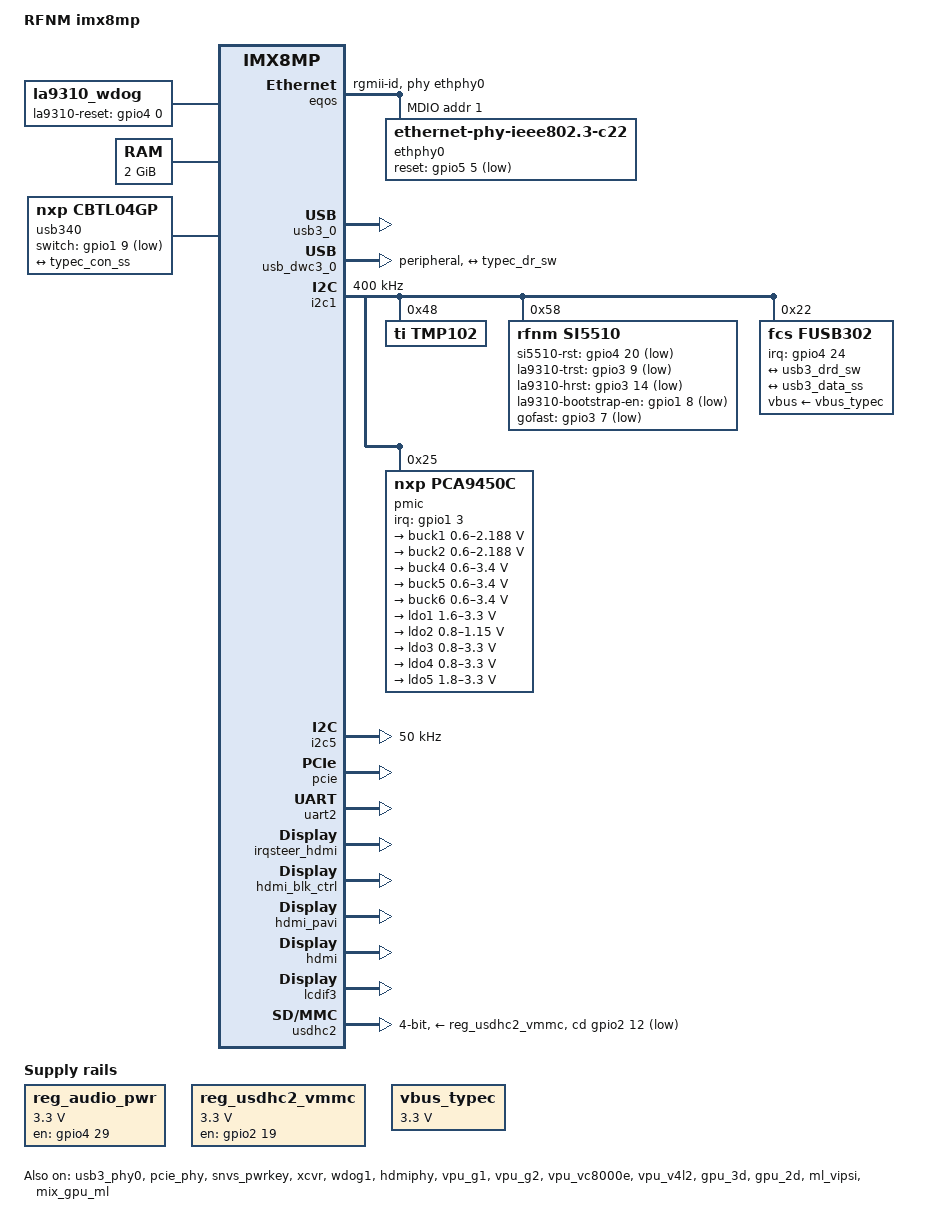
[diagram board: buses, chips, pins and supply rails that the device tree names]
// SPDX-License-Identifier: (GPL-2.0+ OR MIT)
/*
 * Copyright 2019 NXP
 */

/dts-v1/;

#include <dt-bindings/usb/pd.h>
#include "imx8mp.dtsi"

/ {
	model = "RFNM imx8mp";
	compatible = "fsl,imx8mp-evk", "fsl,imx8mp";

	chosen {
		stdout-path = &uart2;
	};

        /* TODO: NLM WDOG Node workaround */
        la9310_wdog: la9310_wdog@0 {
                compatible = "la9310_wdog";
                la9310-reset-gpio = <&gpio4 0 GPIO_ACTIVE_HIGH>;
        };


	memory@40000000 {
		device_type = "memory";
		reg = <0x0 0x40000000 0 0x80000000>;
	};

	reg_audio_pwr: regulator-audio-pwr {
		compatible = "regulator-fixed";
		regulator-name = "audio-pwr";
		regulator-min-microvolt = <3300000>;
		regulator-max-microvolt = <3300000>;
		gpio = <&gpio4 29 GPIO_ACTIVE_HIGH>;
		enable-active-high;
		regulator-always-on;
	};
	
	reg_usdhc2_vmmc: regulator-usdhc2 {
		compatible = "regulator-fixed";
		pinctrl-names = "default";
		pinctrl-0 = <&pinctrl_reg_usdhc2_vmmc>;
		regulator-name = "VSD_3V3";
		regulator-min-microvolt = <3300000>;
		regulator-max-microvolt = <3300000>;
		gpio = <&gpio2 19 GPIO_ACTIVE_HIGH>;
		enable-active-high;
	};


	sound-hdmi {
		compatible = "fsl,imx-audio-hdmi";
		model = "audio-hdmi";
		audio-cpu = <&aud2htx>;
		hdmi-out;
		constraint-rate = <44100>,
				<88200>,
				<176400>,
				<32000>,
				<48000>,
				<96000>,
				<192000>;
		status = "okay";
	};
	
	/*
	rfnm_gpios {
		compatible = "rfnm,gpio";
		pinctrl-names = "default";
		pinctrl-0 = <&pinctrl_rfnm_gpios>;

		Si5510_PWR_EN {
			label = "Si5510_PWR_EN";
			gpios = <&gpio3 16 GPIO_ACTIVE_HIGH>;
		};
	};
	*/
	
	
	usb340: fusb340-sw {
		// cannot remove compatibile from here, this only works thanks to NXP patches
		compatible = "nxp,cbtl04gp";
		pinctrl-names = "default";
		pinctrl-0 = <&pinctrl_typec_mux>;
		switch-gpios = <&gpio1 9 GPIO_ACTIVE_LOW>;
		orientation-switch;

		port {
			usb3_data_ss: endpoint {
				remote-endpoint = <&typec_con_ss>;
			};
		};
	};
	
	
	
	
	vbus_typec: vbus-typec-regulator {
		compatible = "regulator-fixed";
		regulator-name = "vbus_typec";
		regulator-min-microvolt = <3300000>;
		regulator-max-microvolt = <3300000>;
		regulator-always-on;
		status = "okay";
	};
	
	rfnm_wsled {
		compatible = "rfnm,wsled";
		status = "okay";
	};
};

&gpio2 {
	gpio-line-names = 
		"gpio2_0",
		"etc";
};



&A53_0 {
	cpu-supply = <&buck2>;
};

&A53_1 {
	cpu-supply = <&buck2>;
};

&A53_2 {
	cpu-supply = <&buck2>;
};

&A53_3 {
	cpu-supply = <&buck2>;
};


&eqos {
	pinctrl-names = "default";
	pinctrl-0 = <&pinctrl_eqos>;
	phy-mode = "rgmii-id";
	phy-handle = <&ethphy0>;
	snps,force_thresh_dma_mode;
	//snps,mtl-tx-config = <&mtl_tx_setup>;
	//snps,mtl-rx-config = <&mtl_rx_setup>;
	fsl,magic-packet;
	status = "okay";

	mdio {
		compatible = "snps,dwmac-mdio";
		#address-cells = <1>;
		#size-cells = <0>;

		ethphy0: ethernet-phy@1 {
			compatible = "ethernet-phy-ieee802.3-c22";
			reg = <1>;
			eee-broken-1000t;
			realtek,clkout-disable;
			reset-gpios = <&gpio5 5 GPIO_ACTIVE_LOW>;
			reset-assert-us = <15000>;
			reset-deassert-us = <100000>;
		};
	};

	/*mtl_tx_setup: tx-queues-config {
		snps,tx-queues-to-use = <5>;
		snps,tx-sched-sp;
		queue0 {
			snps,dcb-algorithm;
			snps,priority = <0x1>;
		};
		queue1 {
			snps,dcb-algorithm;
			snps,priority = <0x2>;
		};
		queue2 {
			snps,dcb-algorithm;
			snps,priority = <0x4>;
		};
		queue3 {
			snps,dcb-algorithm;
			snps,priority = <0x8>;
		};
		queue4 {
			snps,dcb-algorithm;
			snps,priority = <0xf0>;
		};
	};
	mtl_rx_setup: rx-queues-config {
		snps,rx-queues-to-use = <5>;
		snps,rx-sched-sp;
		queue0 {
			snps,dcb-algorithm;
			snps,priority = <0x1>;
			snps,map-to-dma-channel = <0>;
		};
		queue1 {
			snps,dcb-algorithm;
			snps,priority = <0x2>;
			snps,map-to-dma-channel = <1>;
		};
		queue2 {
			snps,dcb-algorithm;
			snps,priority = <0x4>;
			snps,map-to-dma-channel = <2>;
		};
		queue3 {
			snps,dcb-algorithm;
			snps,priority = <0x8>;
			snps,map-to-dma-channel = <3>;
		};
		queue4 {
			snps,dcb-algorithm;
			snps,priority = <0xf0>;
			snps,map-to-dma-channel = <4>;
		};
	};*/
};

&usb3_phy0 {
	vbus-power-supply = <&fusb302>;
	fsl,phy-tx-vref-tune = <0xe>;
	fsl,phy-tx-preemp-amp-tune = <3>;
	fsl,phy-tx-vboost-level = <5>;
	fsl,phy-comp-dis-tune = <7>;
	fsl,pcs-tx-deemph-3p5db = <0x21>;
	fsl,phy-pcs-tx-swing-full = <0x7f>;
	status = "okay";
};

&usb3_0 {
	status = "okay";
};

&usb_dwc3_0 {
	dr_mode = "peripheral";
	hnp-disable;
	srp-disable;
	adp-disable;
	snps,dis-u1-entry-quirk;
	snps,dis-u2-entry-quirk;
	status = "okay";

	port {
		usb3_drd_sw: endpoint {
			remote-endpoint = <&typec_dr_sw>;
		};
	};
};


&i2c1 {
	clock-frequency = <400000>;
	pinctrl-names = "default";
	pinctrl-0 = <&pinctrl_i2c1>;
	status = "okay";
	
	tmp102@48{
		compatible = "ti,tmp102";
		reg = <0x48>;
	};      
	
	si5510@58{
		compatible = "rfnm,si5510";
		reg = <0x58>;
		status = "okay";
		pinctrl-names = "default";
		pinctrl-0 = <&pinctrl_si5510>;
		si5510-rst-gpios = <&gpio4 20 GPIO_ACTIVE_LOW>;
		la9310-trst-gpios = <&gpio3 9 GPIO_ACTIVE_LOW>;
		la9310-hrst-gpios = <&gpio3 14 GPIO_ACTIVE_LOW>;
		la9310-bootstrap-en-gpios = <&gpio1 8 GPIO_ACTIVE_LOW>;
		
		gofast-gpios = <&gpio3 7 GPIO_ACTIVE_LOW>;
	};
      
      
      fusb302: tcpc@22 {
		compatible = "fcs,fusb302";
		pinctrl-names = "default";
		pinctrl-0 = <&pinctrl_typec>;
		reg = <0x22>;
		interrupt-parent = <&gpio4>;
        interrupts = <24 IRQ_TYPE_LEVEL_LOW>;
        vbus-supply = <&vbus_typec>;

		port {
			typec_dr_sw: endpoint {
				remote-endpoint = <&usb3_drd_sw>;
			};
		};

		usb_con: connector {
			compatible = "usb-c-connector";
			label = "USB-C";
			power-role = "sink";
			data-role = "device";
			source-pdos = <PDO_FIXED(5000, 3000, PDO_FIXED_USB_COMM)>;
			sink-pdos = <PDO_FIXED(5000, 3000, PDO_FIXED_USB_COMM)
				     PDO_VAR(5000, 20000, 3000)>;
			op-sink-microwatt = <15000000>;
			self-powered;

			ports {
				#address-cells = <1>;
				#size-cells = <0>;

				port@1 {
					reg = <1>;
					typec_con_ss: endpoint {
						remote-endpoint = <&usb3_data_ss>;
					};
				};
			};
		};
	};
	
	
	
      
      

	pmic@25 {
		compatible = "nxp,pca9450c";
		reg = <0x25>;
		pinctrl-names = "default";
		pinctrl-0 = <&pinctrl_pmic>;
		interrupt-parent = <&gpio1>;
		interrupts = <3 IRQ_TYPE_LEVEL_LOW>;

		regulators {
			buck1: BUCK1 {
				regulator-name = "BUCK1";
				regulator-min-microvolt = <600000>;
				regulator-max-microvolt = <2187500>;
				regulator-boot-on;
				regulator-always-on;
				regulator-ramp-delay = <3125>;
			};

			buck2: BUCK2 {
				regulator-name = "BUCK2";
				regulator-min-microvolt = <600000>;
				regulator-max-microvolt = <2187500>;
				regulator-boot-on;
				regulator-always-on;
				regulator-ramp-delay = <3125>;
				nxp,dvs-run-voltage = <950000>;
				nxp,dvs-standby-voltage = <850000>;
			};

			buck4: BUCK4{
				regulator-name = "BUCK4";
				regulator-min-microvolt = <600000>;
				regulator-max-microvolt = <3400000>;
				regulator-boot-on;
				regulator-always-on;
			};

			buck5: BUCK5{
				regulator-name = "BUCK5";
				regulator-min-microvolt = <600000>;
				regulator-max-microvolt = <3400000>;
				regulator-boot-on;
				regulator-always-on;
			};

			buck6: BUCK6 {
				regulator-name = "BUCK6";
				regulator-min-microvolt = <600000>;
				regulator-max-microvolt = <3400000>;
				regulator-boot-on;
				regulator-always-on;
			};

			ldo1: LDO1 {
				regulator-name = "LDO1";
				regulator-min-microvolt = <1600000>;
				regulator-max-microvolt = <3300000>;
				regulator-boot-on;
				regulator-always-on;
			};

			ldo2: LDO2 {
				regulator-name = "LDO2";
				regulator-min-microvolt = <800000>;
				regulator-max-microvolt = <1150000>;
				regulator-boot-on;
				regulator-always-on;
			};

			ldo3: LDO3 {
				regulator-name = "LDO3";
				regulator-min-microvolt = <800000>;
				regulator-max-microvolt = <3300000>;
				regulator-boot-on;
				regulator-always-on;
			};

			ldo4: LDO4 {
				regulator-name = "LDO4";
				regulator-min-microvolt = <800000>;
				regulator-max-microvolt = <3300000>;
				regulator-boot-on;
				regulator-always-on;
			};

			ldo5: LDO5 {
				regulator-name = "LDO5";
				regulator-min-microvolt = <1800000>;
				regulator-max-microvolt = <3300000>;
				regulator-boot-on;
				regulator-always-on;
			};
		};
	};
};

&i2c5 {
	clock-frequency = <50000>; /* Lower clock speed for external bus. */
};


&pcie{
	//pinctrl-names = "default";
	//pinctrl-0 = <&pinctrl_pcie>;
	//disable-gpio = <&gpio2 6 GPIO_ACTIVE_LOW>;
	//reset-gpio = <&gpio2 7 GPIO_ACTIVE_LOW>;
	ext_osc = <1>;
	clocks = <&clk IMX8MP_CLK_HSIO_ROOT>,
		 <&clk IMX8MP_CLK_PCIE_AUX>,
		 <&clk IMX8MP_CLK_HSIO_AXI>,
		 <&clk IMX8MP_CLK_PCIE_ROOT>;
	clock-names = "pcie", "pcie_aux", "pcie_phy", "pcie_bus";
	assigned-clocks = <&clk IMX8MP_CLK_HSIO_AXI>,
			  <&clk IMX8MP_CLK_PCIE_AUX>;
	assigned-clock-rates = <500000000>, <10000000>;
	assigned-clock-parents = <&clk IMX8MP_SYS_PLL2_500M>,
				 <&clk IMX8MP_SYS_PLL2_50M>;
	l1ss-disabled;
	status = "okay";
/*
	wifi_wake_host {
		compatible = "nxp,wifi-wake-host";
		interrupt-parent = <&gpio5>;
		interrupts = <21 IRQ_TYPE_LEVEL_LOW>;
		interrupt-names = "host-wake";
	};
*/
};

&pcie_ep{
	//pinctrl-names = "default";
	//pinctrl-0 = <&pinctrl_pcie>;
	ext_osc = <1>;
	clocks = <&clk IMX8MP_CLK_HSIO_ROOT>,
		 <&clk IMX8MP_CLK_PCIE_AUX>,
		 <&clk IMX8MP_CLK_HSIO_AXI>,
		 <&clk IMX8MP_CLK_PCIE_ROOT>;
	clock-names = "pcie", "pcie_aux", "pcie_phy", "pcie_bus";
	assigned-clocks = <&clk IMX8MP_CLK_HSIO_AXI>,
			  <&clk IMX8MP_CLK_PCIE_AUX>;
	assigned-clock-rates = <500000000>, <10000000>;
	assigned-clock-parents = <&clk IMX8MP_SYS_PLL2_500M>,
				 <&clk IMX8MP_SYS_PLL2_50M>;
	status = "disabled";
};

&pcie_phy{
	ext_osc = <1>;
	status = "okay";
};


&snvs_pwrkey {
	status = "okay";
};

&xcvr {
	#sound-dai-cells = <0>;
	status = "okay";
};

&sdma2 {
	status = "okay";
};


&uart2 {
	/* console */
	pinctrl-names = "default";
	pinctrl-0 = <&pinctrl_uart2>;
	status = "okay";
};

&wdog1 {
	pinctrl-names = "default";
	pinctrl-0 = <&pinctrl_wdog>;
	fsl,ext-reset-output;
	status = "okay";
};

&irqsteer_hdmi {
	status = "okay";
};

&hdmi_blk_ctrl {
	status = "okay";
};

&hdmi_pavi {
	status = "okay";
};

&hdmi {
	status = "okay";
	pinctrl-names = "default";
	pinctrl-0 = <&pinctrl_hdmi>;
};

&hdmiphy {
	status = "okay";
};

&lcdif3 {
	status = "okay";

	thres-low  = <1 2>;             /* (FIFO * 1 / 2) */
	thres-high = <3 4>;             /* (FIFO * 3 / 4) */
};

&usdhc2 {
	assigned-clocks = <&clk IMX8MP_CLK_USDHC2>;
	assigned-clock-rates = <400000000>;
	pinctrl-names = "default", "state_100mhz", "state_200mhz";
	pinctrl-0 = <&pinctrl_usdhc2>, <&pinctrl_usdhc2_gpio>;
	pinctrl-1 = <&pinctrl_usdhc2_100mhz>, <&pinctrl_usdhc2_gpio>;
	pinctrl-2 = <&pinctrl_usdhc2_200mhz>, <&pinctrl_usdhc2_gpio>;
	cd-gpios = <&gpio2 12 GPIO_ACTIVE_LOW>;
	vmmc-supply = <&reg_usdhc2_vmmc>;
	bus-width = <4>;
	status = "okay";
};


&iomuxc {
    pinctrl-names = "default_iomuxc";
    pinctrl-0 = <&pinctrl_eqos>;


    imx8mp-custom-board {
    /*
    	pinctrl_rfnm_gpios: rfnmgpiopctrl {
    		fsl,pins = <
				MX8MP_IOMUXC_GPIO1_IO07__GPIO1_IO07        0x00000146
                MX8MP_IOMUXC_GPIO1_IO10__GPIO1_IO10        0x00000146
                MX8MP_IOMUXC_GPIO1_IO12__GPIO1_IO12        0x00000146
                MX8MP_IOMUXC_NAND_READY_B__GPIO3_IO16      0x00000146
                MX8MP_IOMUXC_SD2_WP__GPIO2_IO20            0x00000146
			>;
    	};
    */
    
    pinctrl_hdmi: hdmigrp {
    	fsl,pins = <
			MX8MP_IOMUXC_HDMI_DDC_SCL__HDMIMIX_HDMI_SCL	0x000001c3
			MX8MP_IOMUXC_HDMI_DDC_SDA__HDMIMIX_HDMI_SDA	0x000001c3
			MX8MP_IOMUXC_HDMI_HPD__HDMIMIX_HDMI_HPD		0x00000000
			MX8MP_IOMUXC_HDMI_CEC__HDMIMIX_HDMI_CEC		0x00000000
		>;
    };
    	pinctrl_typec: typec1grp {
			fsl,pins = <
				MX8MP_IOMUXC_SAI2_TXFS__GPIO4_IO24	0x86
			>;
		};
	
		pinctrl_typec_mux: typec1muxgrp {
			fsl,pins = <
				MX8MP_IOMUXC_GPIO1_IO09__GPIO1_IO09	0x16
			>;
		};
		
		pinctrl_si5510: si5510pctrl {
			fsl,pins = <
				MX8MP_IOMUXC_SAI1_MCLK__GPIO4_IO20	0x6
				MX8MP_IOMUXC_NAND_DATA03__GPIO3_IO09	0x6
				MX8MP_IOMUXC_NAND_DQS__GPIO3_IO14 	0x6
				MX8MP_IOMUXC_GPIO1_IO08__GPIO1_IO08 	0x6
				
				MX8MP_IOMUXC_NAND_DATA01__GPIO3_IO07       0x00000016
			>;
		};
		
		
		
        pinctrl_eqos: eqosgrp {

            fsl,pins = <
                MX8MP_IOMUXC_ENET_MDC__ENET_QOS_MDC				0x2
				MX8MP_IOMUXC_ENET_MDIO__ENET_QOS_MDIO				0x2
				MX8MP_IOMUXC_ENET_RD0__ENET_QOS_RGMII_RD0			0x90
				MX8MP_IOMUXC_ENET_RD1__ENET_QOS_RGMII_RD1			0x90
				MX8MP_IOMUXC_ENET_RD2__ENET_QOS_RGMII_RD2			0x90
				MX8MP_IOMUXC_ENET_RD3__ENET_QOS_RGMII_RD3			0x90
				MX8MP_IOMUXC_ENET_RXC__CCM_ENET_QOS_CLOCK_GENERATE_RX_CLK	0x90
				MX8MP_IOMUXC_ENET_RX_CTL__ENET_QOS_RGMII_RX_CTL			0x90
				MX8MP_IOMUXC_ENET_TD0__ENET_QOS_RGMII_TD0			0x16
				MX8MP_IOMUXC_ENET_TD1__ENET_QOS_RGMII_TD1			0x16
				MX8MP_IOMUXC_ENET_TD2__ENET_QOS_RGMII_TD2			0x16
				MX8MP_IOMUXC_ENET_TD3__ENET_QOS_RGMII_TD3			0x16
				MX8MP_IOMUXC_ENET_TX_CTL__ENET_QOS_RGMII_TX_CTL			0x16
				MX8MP_IOMUXC_ENET_TXC__CCM_ENET_QOS_CLOCK_GENERATE_TX_CLK	0x16
				MX8MP_IOMUXC_SPDIF_EXT_CLK__GPIO5_IO05		0x10
            >;
        };
        init_usdhc_pins: init_usdhc_pinsgrp {             

            fsl,pins = <
            >;
        };
        
        
        pinctrl_usdhc2: usdhc2grp {
			fsl,pins = <
				MX8MP_IOMUXC_SD2_CLK__USDHC2_CLK	0x190
				MX8MP_IOMUXC_SD2_CMD__USDHC2_CMD	0x1d0
				MX8MP_IOMUXC_SD2_DATA0__USDHC2_DATA0	0x1d0
				MX8MP_IOMUXC_SD2_DATA1__USDHC2_DATA1	0x1d0
				MX8MP_IOMUXC_SD2_DATA2__USDHC2_DATA2	0x1d0
				MX8MP_IOMUXC_SD2_DATA3__USDHC2_DATA3	0x1d0
				MX8MP_IOMUXC_GPIO1_IO04__USDHC2_VSELECT	0xc0
			>;
		};
	
		pinctrl_usdhc2_100mhz: usdhc2-100mhzgrp {
			fsl,pins = <
				MX8MP_IOMUXC_SD2_CLK__USDHC2_CLK	0x194
				MX8MP_IOMUXC_SD2_CMD__USDHC2_CMD	0x1d4
				MX8MP_IOMUXC_SD2_DATA0__USDHC2_DATA0	0x1d4
				MX8MP_IOMUXC_SD2_DATA1__USDHC2_DATA1	0x1d4
				MX8MP_IOMUXC_SD2_DATA2__USDHC2_DATA2	0x1d4
				MX8MP_IOMUXC_SD2_DATA3__USDHC2_DATA3	0x1d4
				MX8MP_IOMUXC_GPIO1_IO04__USDHC2_VSELECT 0xc0
			>;
		};
	
		pinctrl_usdhc2_200mhz: usdhc2-200mhzgrp {
			fsl,pins = <
				MX8MP_IOMUXC_SD2_CLK__USDHC2_CLK	0x196
				MX8MP_IOMUXC_SD2_CMD__USDHC2_CMD	0x1d6
				MX8MP_IOMUXC_SD2_DATA0__USDHC2_DATA0	0x1d6
				MX8MP_IOMUXC_SD2_DATA1__USDHC2_DATA1	0x1d6
				MX8MP_IOMUXC_SD2_DATA2__USDHC2_DATA2	0x1d6
				MX8MP_IOMUXC_SD2_DATA3__USDHC2_DATA3	0x1d6
				MX8MP_IOMUXC_GPIO1_IO04__USDHC2_VSELECT 0xc0
			>;
		};
	
		pinctrl_usdhc2_gpio: usdhc2gpiogrp {
			fsl,pins = <
				MX8MP_IOMUXC_SD2_CD_B__GPIO2_IO12	0x1c4
			>;
		};
		
		pinctrl_reg_usdhc2_vmmc: regusdhc2vmmcgrp {
			fsl,pins = <
				MX8MP_IOMUXC_SD2_RESET_B__GPIO2_IO19	0x40
			>;
		};
		
		
		
        pinctrl_uart2: uart2grp {                   

            fsl,pins = <
                MX8MP_IOMUXC_SD1_DATA2__UART2_DCE_TX       0x00000106
                MX8MP_IOMUXC_SD1_DATA3__UART2_DCE_RX       0x00000106
            >;
        };
        pinctrl_i2c1: i2c1grp {    

            fsl,pins = <
                MX8MP_IOMUXC_I2C1_SCL__I2C1_SCL            0x400001c2
                MX8MP_IOMUXC_I2C1_SDA__I2C1_SDA            0x400001c2
            >;
        };
        init_ecspi_pins: init_ecspi_pinsgrp {             

            fsl,pins = <
            >;
        };
        
        pinctrl_wdog: wdoggrp {                        

            fsl,pins = <
                MX8MP_IOMUXC_GPIO1_IO02__WDOG1_WDOG_B      0x00000166
            >;
        };
        pinctrl_pmic: pmicgrp {                            

            fsl,pins = <
                MX8MP_IOMUXC_GPIO1_IO03__GPIO1_IO03        0x000001C0
            >;
        };
    };
};

&vpu_g1 {
	status = "okay";
};

&vpu_g2 {
	status = "okay";
};

&vpu_vc8000e {
	status = "okay";
};

&vpu_v4l2 {
	status = "okay";
};

&gpu_3d {
	status = "okay";
};

&gpu_2d {
	status = "okay";
};

&ml_vipsi {
	status = "okay";
};

&mix_gpu_ml {
	status = "okay";
};
